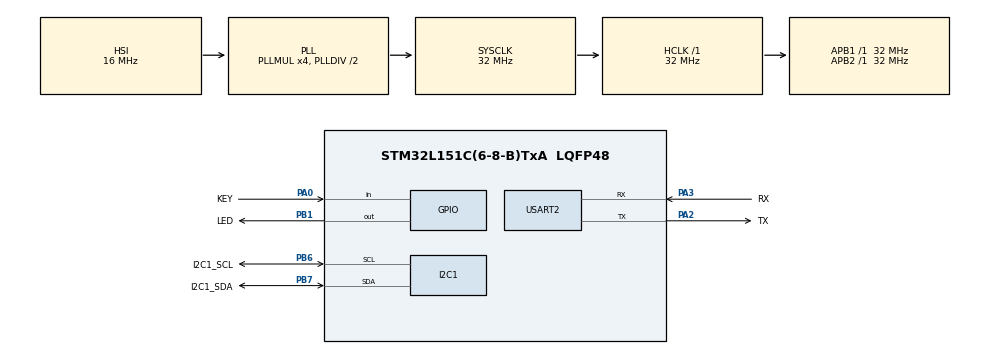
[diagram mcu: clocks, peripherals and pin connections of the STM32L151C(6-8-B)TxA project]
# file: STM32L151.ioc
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Mcu.Family=STM32L1
Mcu.Name=STM32L151C(6-8-B)TxA
Mcu.Package=LQFP48
NVIC.PriorityGroup=NVIC_PRIORITYGROUP_4
PA0-WKUP1.GPIO_Label=KEY
PA0-WKUP1.GPIO_PuPd=GPIO_PULLDOWN
PA0-WKUP1.Signal=GPIO_Input
PA2.GPIO_Label=TX
PA2.Mode=Asynchronous
PA2.Signal=USART2_TX
PA3.GPIO_Label=RX
PA3.Mode=Asynchronous
PA3.Signal=USART2_RX
PB1.GPIO_Label=LED
PB1.GPIO_ModeDefaultOutputPP=GPIO_MODE_OUTPUT_PP
PB1.PinState=GPIO_PIN_RESET
PB1.Signal=GPIO_Output
PB6.GPIO_Label=I2C1_SCL
PB6.Mode=I2C
PB6.Signal=I2C1_SCL
PB7.GPIO_Label=I2C1_SDA
PB7.Mode=I2C
PB7.Signal=I2C1_SDA
PC14-OSC32_IN.Mode=LSE-External-Oscillator
PC14-OSC32_IN.Signal=RCC_OSC32_IN
PC15-OSC32_OUT.Mode=LSE-External-Oscillator
PC15-OSC32_OUT.Signal=RCC_OSC32_OUT
PH0-OSC_IN.Mode=HSE-External-Oscillator
PH0-OSC_IN.Signal=RCC_OSC_IN
PH1-OSC_OUT.Mode=HSE-External-Oscillator
PH1-OSC_OUT.Signal=RCC_OSC_OUT
ProjectManager.HeapSize=0x200
ProjectManager.StackSize=0x400
ProjectManager.TargetToolchain=MDK-ARM V5
RCC.48MHZClocksFreq_Value=32000000
RCC.AHBFreq_Value=32000000
RCC.APB1Freq_Value=32000000
RCC.APB1TimFreq_Value=32000000
RCC.APB2Freq_Value=32000000
RCC.APB2TimFreq_Value=32000000
RCC.HCLKFreq_Value=32000000
RCC.HSE_VALUE=8000000
RCC.HSI_VALUE=16000000
RCC.MSI_VALUE=2097000
RCC.PLLMUL=RCC_PLL_MUL4
RCC.SYSCLKFreq_VALUE=32000000
RCC.SYSCLKSource=RCC_SYSCLKSOURCE_PLLCLK
RCC.VCOOutputFreq_Value=64000000
USART2.VirtualMode=VM_ASYNC
board=STM32L151

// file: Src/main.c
/**
  ******************************************************************************
  * File Name          : main.c
  * Description        : Main program body
  ******************************************************************************
  ** This notice applies to any and all portions of this file
  * that are not between comment pairs USER CODE BEGIN and
  * USER CODE END. Other portions of this file, whether
  * inserted by the user or by software development tools
  * are owned by their respective copyright owners.
  *
  * COPYRIGHT(c) 2018 STMicroelectronics
  *
  * Redistribution and use in source and binary forms, with or without modification,
  * are permitted provided that the following conditions are met:
  *   1. Redistributions of source code must retain the above copyright notice,
  *      this list of conditions and the following disclaimer.
  *   2. Redistributions in binary form must reproduce the above copyright notice,
  *      this list of conditions and the following disclaimer in the documentation
  *      and/or other materials provided with the distribution.
  *   3. Neither the name of STMicroelectronics nor the names of its contributors
  *      may be used to endorse or promote products derived from this software
  *      without specific prior written permission.
  *
  * THIS SOFTWARE IS PROVIDED BY THE COPYRIGHT HOLDERS AND CONTRIBUTORS "AS IS"
  * AND ANY EXPRESS OR IMPLIED WARRANTIES, INCLUDING, BUT NOT LIMITED TO, THE
  * IMPLIED WARRANTIES OF MERCHANTABILITY AND FITNESS FOR A PARTICULAR PURPOSE ARE
  * DISCLAIMED. IN NO EVENT SHALL THE COPYRIGHT HOLDER OR CONTRIBUTORS BE LIABLE
  * FOR ANY DIRECT, INDIRECT, INCIDENTAL, SPECIAL, EXEMPLARY, OR CONSEQUENTIAL
  * DAMAGES (INCLUDING, BUT NOT LIMITED TO, PROCUREMENT OF SUBSTITUTE GOODS OR
  * SERVICES; LOSS OF USE, DATA, OR PROFITS; OR BUSINESS INTERRUPTION) HOWEVER
  * CAUSED AND ON ANY THEORY OF LIABILITY, WHETHER IN CONTRACT, STRICT LIABILITY,
  * OR TORT (INCLUDING NEGLIGENCE OR OTHERWISE) ARISING IN ANY WAY OUT OF THE USE
  * OF THIS SOFTWARE, EVEN IF ADVISED OF THE POSSIBILITY OF SUCH DAMAGE.
  *
  ******************************************************************************
  */

#include "main.h"
#include "stm32l1xx_hal.h"
#include "i2c.h"
#include "usart.h"
#include "gpio.h"

/* USER CODE BEGIN Includes */
#include "bsp_i2c_oled.h"

/* USER CODE END Includes */

/* USER CODE BEGIN PV */
/* Private variables ---------------------------------------------------------*/
extern unsigned char BMP1[];
/* USER CODE END PV */

void SystemClock_Config(void);

/* USER CODE BEGIN PFP */
/* Private function prototypes -----------------------------------------------*/

/* USER CODE END PFP */

int main(void)
{

  /* MCU Configuration----------------------------------------------------------*/

  /* Reset of all peripherals, Initializes the Flash interface and the Systick. */
  HAL_Init();

  /* Configure the system clock */
  SystemClock_Config();

  /* Initialize all configured peripherals */
  MX_GPIO_Init();
  MX_I2C1_Init();
  MX_USART2_UART_Init();

  /* USER CODE BEGIN 2 */
	OLED_Init();

  /* USER CODE END 2 */

  /* Infinite loop */
  while (1)
  {

  /* USER CODE BEGIN 3 */
		OLED_Fill(0xFF);
		HAL_Delay(2000);
		OLED_Fill(0x00);
		HAL_Delay(2000);
		OLED_Test();
		HAL_Delay(2000);
		OLED_Fill(0x00);
		OLED_ShowStr(0,3,(unsigned char*)"OLED TEST",1);
		OLED_ShowStr(0,4,(unsigned char*)"STM32L151C8T6",2);
		HAL_Delay(2000);
		OLED_CLS();
		OLED_OFF();
		HAL_Delay(2000);
		OLED_ON();
		OLED_DrawBMP(0,0,128,8,(unsigned char *)BMP1);
		HAL_Delay(2000);
  }
  /* USER CODE END 3 */

}

/** System Clock Configuration
*/
void SystemClock_Config(void)
{

  RCC_OscInitTypeDef RCC_OscInitStruct;
  RCC_ClkInitTypeDef RCC_ClkInitStruct;

    /**Configure the main internal regulator output voltage
    */
  __HAL_PWR_VOLTAGESCALING_CONFIG(PWR_REGULATOR_VOLTAGE_SCALE1);

    /**Initializes the CPU, AHB and APB busses clocks
    */
  RCC_OscInitStruct.OscillatorType = RCC_OSCILLATORTYPE_HSI;
  RCC_OscInitStruct.HSIState = RCC_HSI_ON;
  RCC_OscInitStruct.HSICalibrationValue = 16;
  RCC_OscInitStruct.PLL.PLLState = RCC_PLL_ON;
  RCC_OscInitStruct.PLL.PLLSource = RCC_PLLSOURCE_HSI;
  RCC_OscInitStruct.PLL.PLLMUL = RCC_PLL_MUL4;
  RCC_OscInitStruct.PLL.PLLDIV = RCC_PLL_DIV2;
  if (HAL_RCC_OscConfig(&RCC_OscInitStruct) != HAL_OK)
  {
    _Error_Handler(__FILE__, __LINE__);
  }

    /**Initializes the CPU, AHB and APB busses clocks
    */
  RCC_ClkInitStruct.ClockType = RCC_CLOCKTYPE_HCLK|RCC_CLOCKTYPE_SYSCLK
                              |RCC_CLOCKTYPE_PCLK1|RCC_CLOCKTYPE_PCLK2;
  RCC_ClkInitStruct.SYSCLKSource = RCC_SYSCLKSOURCE_PLLCLK;
  RCC_ClkInitStruct.AHBCLKDivider = RCC_SYSCLK_DIV1;
  RCC_ClkInitStruct.APB1CLKDivider = RCC_HCLK_DIV1;
  RCC_ClkInitStruct.APB2CLKDivider = RCC_HCLK_DIV1;

  if (HAL_RCC_ClockConfig(&RCC_ClkInitStruct, FLASH_LATENCY_1) != HAL_OK)
  {
    _Error_Handler(__FILE__, __LINE__);
  }

    /**Configure the Systick interrupt time
    */
  HAL_SYSTICK_Config(HAL_RCC_GetHCLKFreq()/1000);

    /**Configure the Systick
    */
  HAL_SYSTICK_CLKSourceConfig(SYSTICK_CLKSOURCE_HCLK);

  /* SysTick_IRQn interrupt configuration */
  HAL_NVIC_SetPriority(SysTick_IRQn, 0, 0);
}

void _Error_Handler(char * file, int line)
{
  while(1)
  {
  }
}

/************************ (C) COPYRIGHT STMicroelectronics *****END OF FILE****/
